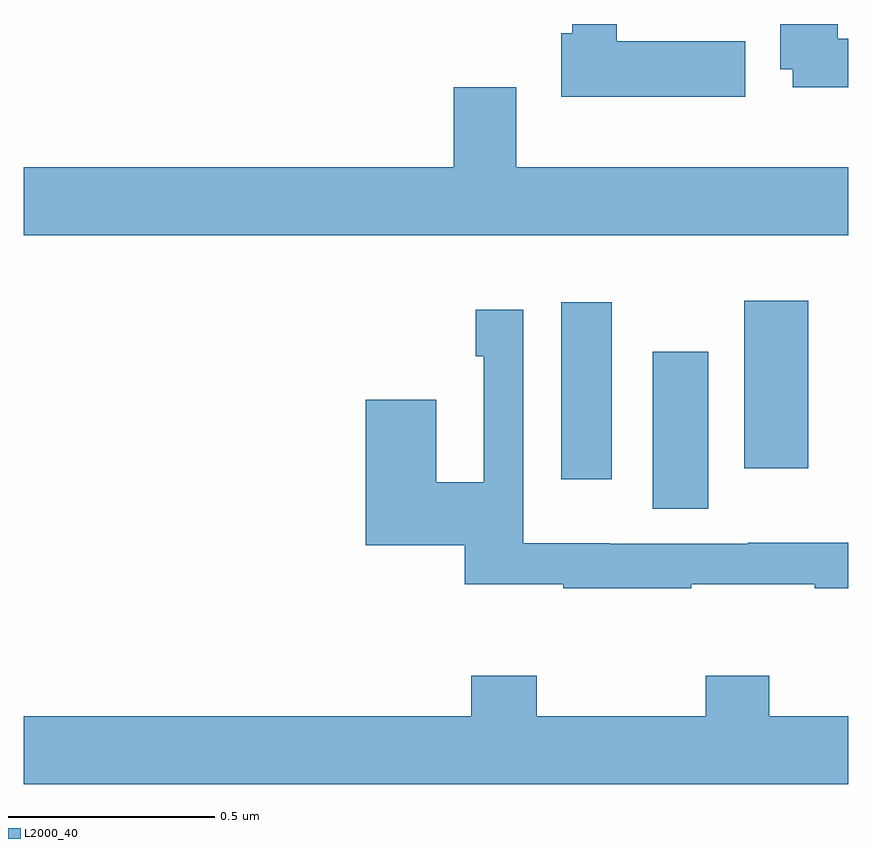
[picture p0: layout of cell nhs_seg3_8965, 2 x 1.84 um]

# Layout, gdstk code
import gdstk
lib = gdstk.Library(unit=1e-6, precision=1e-09)
def R(c, l, rs):  # rectangles x0, y0, x1, y1
    for r in rs: c.add(gdstk.rectangle(r[:2], r[2:], *l))
def P(c, l, *ps):  # polygons
    for p in ps: c.add(gdstk.Polygon(p, *l))
L2000_40 = (2000, 40)

nhs_seg3_8965 = lib.new_cell('nhs_seg3_8965')
R(nhs_seg3_8965, L2000_40, [(223.526,728.224,223.66,728.605), (223.304,728.295,223.426,728.725), (223.748,728.322,223.903,728.728)])
P(nhs_seg3_8965, L2000_40, [(224,729.364),(223.975,729.364),(223.975,729.4),(223.835,729.4),(223.835,729.29),(223.865,729.29),(223.865,729.246),(224,729.246)],
  [(223.75,729.358),(223.438,729.358),(223.438,729.4),(223.331,729.4),(223.331,729.378),(223.304,729.378),(223.304,729.224),(223.75,729.224)],
  [(224,729.052),(223.195,729.052),(223.195,729.247),(223.043,729.247),(223.043,729.052),(222,729.052),(222,728.888),(224,728.888)],
  [(223.619,728.041),(223.919,728.041),(223.919,728.031),(224,728.031),(224,728.141),(223.756,728.141),(223.756,728.139),(223.422,728.139),(223.422,728.14),(223.212,728.14),(223.212,728.707),(223.096,728.707),(223.096,728.594),(223.116,728.594),(223.116,728.288),(223,728.288),(223,728.488),(222.83,728.488),(222.83,728.135),(223.07,728.135),(223.07,728.041),(223.309,728.041),(223.309,728.031),(223.619,728.031)],
  [(224,727.72),(223.809,727.72),(223.809,727.819),(223.654,727.819),(223.654,727.72),(223.245,727.72),(223.245,727.819),(223.085,727.819),(223.085,727.72),(222,727.72),(222,727.556),(224,727.556)])

lib.write_gds('nhs_seg3_8965.gds')
